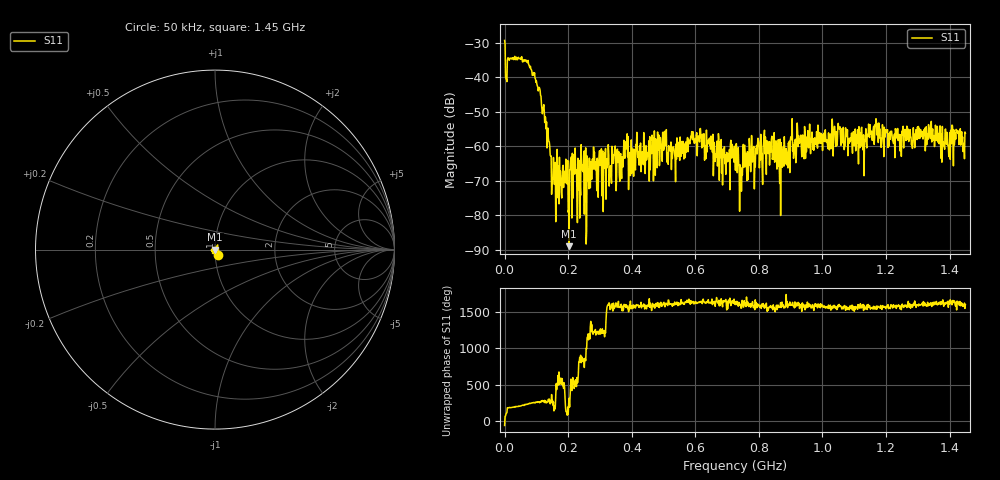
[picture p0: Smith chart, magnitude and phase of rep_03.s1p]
! Created with skrf 1.11.0 (http://scikit-rf.org).
# Hz S RI R 50.0
!freq ReS11 ImS11
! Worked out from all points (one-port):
!   1001 points, 50 kHz to 1.45 GHz, reference 50 ohm
!   lowest |S11| = -89.0 dB at 203 MHz (marker M1), VSWR 1.00, Z = 50 - j0.0027 ohm
!   |S11| at or under -10 dB: start of sweep to end of sweep
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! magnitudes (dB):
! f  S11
! 50 kHz  -29.4
! 88.5 MHz  -39.5
! 117.5 MHz  -49.4
! 153.7 MHz  -63.3
! 181.3 MHz  -71.3
! 203 MHz  -89.0
! 214.6 MHz  -75.1
! 232 MHz  -64.9
! 248 MHz  -65.1
! 258.1 MHz  -84.8
! 279.9 MHz  -60.3
! 362.5 MHz  -70.2
! 381.4 MHz  -59.0
! 397.3 MHz  -66.4
! 501.7 MHz  -60.5
! 543.8 MHz  -62.6
! 617.7 MHz  -57.2
! 690.2 MHz  -62.1
! 725 MHz  -63.1
! 745.3 MHz  -73.1
! 799 MHz  -58.5
! 871.5 MHz  -61.5
! 906.3 MHz  -61.5
! 1.054 GHz  -54.7
! 1.088 GHz  -58.7
! 1.173 GHz  -55.3
! 1.269 GHz  -58.1
! 1.45 GHz  -56.3
